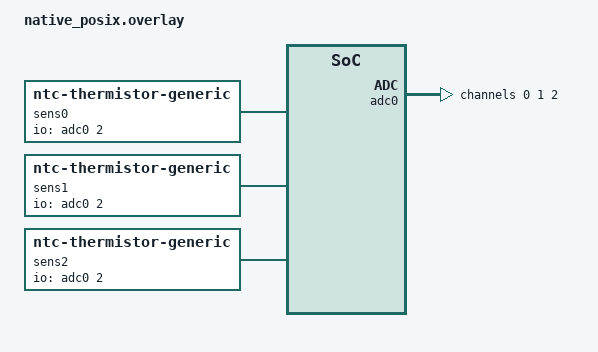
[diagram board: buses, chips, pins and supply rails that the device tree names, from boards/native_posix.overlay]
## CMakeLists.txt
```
# Copyright (c) 2021, Legrand North America, LLC.
# SPDX-License-Identifier: Apache-2.0

cmake_minimum_required(VERSION 3.20.0)
find_package(Zephyr REQUIRED HINTS $ENV{ZEPHYR_BASE})

project(sensorService_tests)

target_include_directories(app PRIVATE ${CMAKE_SOURCE_DIR}/../../../app/include)

FILE(GLOB app_sources src/*.cpp)
target_sources(app
PRIVATE
    ${app_sources}
    ${CMAKE_SOURCE_DIR}/../../../app/src/SensorService.cpp
)
```

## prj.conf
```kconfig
CONFIG_CPP=y
CONFIG_STD_CPP2B=y

CONFIG_ADC_EMUL=y
CONFIG_ZTEST=y

CONFIG_SENSORSERVICE=y
```

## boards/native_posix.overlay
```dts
/ {
  sens0: sens0 {
    compatible = "ntc-thermistor-generic";
    zephyr,compensation-table = <(-25) 101898>,
                     <(-15) 59605>,
                     <(-5) 36289>,
                     <(5) 22896>,
                     <(15) 14915>,
                     <(25) 10000>,
                     <(35) 6880>,
                     <(45) 4846>,
                     <(55) 3487>,
                     <(65) 2559>,
                     <(75) 1911>,
                     <(85) 1451>,
                     <(95) 1118>,
                     <(105) 873>,
                     <(115) 691>,
                     <(125) 553>;
    io-channels = <&adc0 2>;
    pullup-uv = <3300000>;
    pullup-ohm = <8200>;
    pulldown-ohm = <0>;
  };

  sens1: sens1 {
    compatible = "ntc-thermistor-generic";
    zephyr,compensation-table = <(-25) 101898>,
                     <(-15) 59605>,
                     <(-5) 36289>,
                     <(5) 22896>,
                     <(15) 14915>,
                     <(25) 10000>,
                     <(35) 6880>,
                     <(45) 4846>,
                     <(55) 3487>,
                     <(65) 2559>,
                     <(75) 1911>,
                     <(85) 1451>,
                     <(95) 1118>,
                     <(105) 873>,
                     <(115) 691>,
                     <(125) 553>;
    io-channels = <&adc0 2>;
    pullup-uv = <3300000>;
    pullup-ohm = <8200>;
    pulldown-ohm = <0>;
  };

  sens2: sens2 {
    compatible = "ntc-thermistor-generic";
    zephyr,compensation-table = <(-25) 101898>,
                     <(-15) 59605>,
                     <(-5) 36289>,
                     <(5) 22896>,
                     <(15) 14915>,
                     <(25) 10000>,
                     <(35) 6880>,
                     <(45) 4846>,
                     <(55) 3487>,
                     <(65) 2559>,
                     <(75) 1911>,
                     <(85) 1451>,
                     <(95) 1118>,
                     <(105) 873>,
                     <(115) 691>,
                     <(125) 553>;
    io-channels = <&adc0 2>;
    pullup-uv = <3300000>;
    pullup-ohm = <8200>;
    pulldown-ohm = <0>;
  };
};

&adc0 {
  nchannels = <3>;
  ref-internal-mv = <3300>;
  #address-cells = <1>;
  #size-cells = <0>;
  status = "okay";

  channel@0 {
    reg = <0>;
    zephyr,gain = "ADC_GAIN_1";
    zephyr,reference = "ADC_REF_INTERNAL";
    zephyr,acquisition-time = <ADC_ACQ_TIME_DEFAULT>;
    zephyr,resolution = <12>;
  };

  channel@1 {
    reg = <1>;
    zephyr,gain = "ADC_GAIN_1";
    zephyr,reference = "ADC_REF_INTERNAL";
    zephyr,acquisition-time = <ADC_ACQ_TIME_DEFAULT>;
    zephyr,resolution = <12>;
  };

  channel@2 {
    reg = <2>;
    zephyr,gain = "ADC_GAIN_1";
    zephyr,reference = "ADC_REF_INTERNAL";
    zephyr,acquisition-time = <ADC_ACQ_TIME_DEFAULT>;
    zephyr,resolution = <12>;
  };
};
```

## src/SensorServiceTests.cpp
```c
#include "SensorService.hpp"

#include <zephyr/drivers/adc/adc_emul.h>
#include <zephyr/kernel.h>
#include <zephyr/ztest.h>

ZTEST_SUITE(sensorService_tests, NULL, NULL, NULL, NULL, NULL);

#define SENSOREMUL_DT_GET(nodeId)         \
    {                                     \
        ADC_DT_SPEC_GET_BY_IDX(nodeId, 0) \
    }

class SensorEmul {
  public:
    SensorEmul(adc_dt_spec spec)
     : _spec(spec)
    {
        zassert_ok(adc_emul_ref_voltage_set(_spec.dev, ADC_REF_INTERNAL, refVoltage));
    }

    void setTemperature(int temp) noexcept
    {
        // TODO calculate actual temperature:
        std::uint32_t value = temp >= 0 ? temp * 32 : 0;
        zassert_ok(adc_emul_const_value_set(_spec.dev, _spec.channel_id, value));
    }

    void setOpen() noexcept { zassert_ok(adc_emul_const_value_set(_spec.dev, _spec.channel_id, refVoltage)); }

  private:
    static constexpr std::uint32_t refVoltage = 3300;

    const adc_dt_spec _spec;
};

ZTEST(sensorService_tests, test_init)
{
    SensorService sensors{};

    zassert_true(sensors.init());
}

ZTEST(sensorService_tests, test_periodicFetch_readData_valuesChange)
{
    SensorEmul emul = SENSOREMUL_DT_GET(DT_NODELABEL(sens0));
    SensorService sensors{};

    static constexpr int inputs[] = {7, 42, -31, 25};
    int values[std::size(inputs)] = {};

    sensors.init();
    sensors.start();

    for (std::size_t i = 1; i < std::size(values); ++i) {
        emul.setTemperature(inputs[i]);
        k_sleep(K_MSEC(CONFIG_SENSORSERVICE_FETCH_INTERVAL * 2));
        values[i] = sensors.get(0).value_or(0);
    }

    sensors.stop();

    for (std::size_t i = 1; i < std::size(values); ++i) {
        zassert_not_equal(values[i - 1], values[i], "i=%d", i);
    }
}

ZTEST(sensorService_tests, test_notStarted_notFetching)
{
    SensorEmul emul = SENSOREMUL_DT_GET(DT_NODELABEL(sens0));
    SensorService sensors{};

    emul.setTemperature(0);
    sensors.init();

    const auto ret1 = sensors.get(0);
    zassert_false(ret1.has_value());
    zassert_equal(ret1.error(), SensorError::NotPresent);

    emul.setTemperature(42);
    k_sleep(K_MSEC(CONFIG_SENSORSERVICE_FETCH_INTERVAL * 2));

    zassert_false(ret1.has_value());
    zassert_equal(ret1.error(), SensorError::NotPresent);
}

ZTEST(sensorService_tests, test_start_stop)
{
    SensorEmul emul = SENSOREMUL_DT_GET(DT_NODELABEL(sens0));
    SensorService sensors{};

    emul.setTemperature(15);

    sensors.init();
    sensors.start();
    k_sleep(K_MSEC(CONFIG_SENSORSERVICE_FETCH_INTERVAL * 2));
    sensors.stop();

    const auto ret1 = sensors.get(0);
    zassert_true(ret1.has_value());

    k_sleep(K_MSEC(CONFIG_SENSORSERVICE_FETCH_INTERVAL * 2));

    const auto ret2 = sensors.get(0);
    zassert_true(ret2.has_value());

    zassert_equal(ret1.value(), ret2.value());
}

ZTEST(sensorService_tests, test_sensorOpen_error)
{
    SensorEmul emul = SENSOREMUL_DT_GET(DT_NODELABEL(sens0));
    SensorService sensors{};

    emul.setOpen();

    sensors.init();
    sensors.start();
    k_sleep(K_MSEC(CONFIG_SENSORSERVICE_FETCH_INTERVAL * 2));
    sensors.stop();

    const auto ret = sensors.get(0);
    zassert_false(ret.has_value());
    zassert_equal(ret.error(), SensorError::NotPresent);
}

ZTEST(sensorService_tests, test_invalidId_error)
{
    SensorEmul emul = SENSOREMUL_DT_GET(DT_NODELABEL(sens0));
    SensorService sensors{};

    emul.setOpen();

    sensors.init();
    sensors.start();
    k_sleep(K_MSEC(CONFIG_SENSORSERVICE_FETCH_INTERVAL * 2));
    sensors.stop();

    const auto ret = sensors.get(6);
    zassert_false(ret.has_value());
    zassert_equal(ret.error(), SensorError::InvalidId);
}
```
